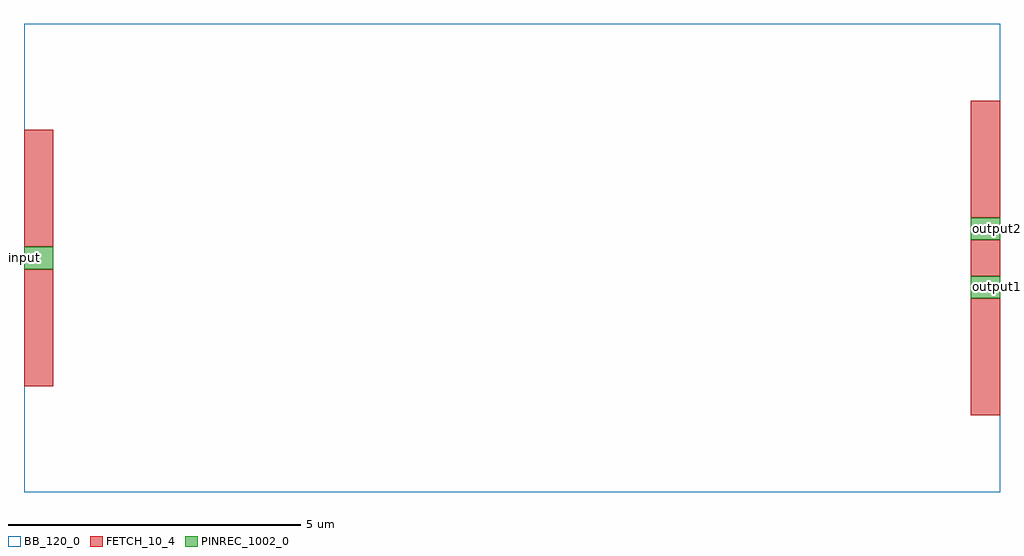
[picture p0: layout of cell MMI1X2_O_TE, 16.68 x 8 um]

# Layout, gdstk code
import gdstk
lib = gdstk.Library(unit=1e-6, precision=1e-09)
def R(c, l, rs):  # rectangles x0, y0, x1, y1
    for r in rs: c.add(gdstk.rectangle(r[:2], r[2:], *l))
FETCH_10_4 = (10, 4)
BB_120_0 = (120, 0)
PINREC_1002_0 = (1002, 0)

mmi1x2_o_te = lib.new_cell('MMI1X2_O_TE')
R(mmi1x2_o_te, FETCH_10_4, [(16.178,1.31,16.678,3.31), (0,1.81,0.5,3.81), (16.178,3.69,16.678,4.31), (0,4.19,0.5,6.19), (16.178,4.69,16.678,6.69)])
R(mmi1x2_o_te, BB_120_0, [(0,0,16.678,8)])
R(mmi1x2_o_te, PINREC_1002_0, [(16.178,3.31,16.678,3.69), (0,3.81,0.5,4.19), (16.178,4.31,16.678,4.69)])
mmi1x2_o_te.add(gdstk.Label('output2', (16.678,4.505), layer=1000, texttype=0))
mmi1x2_o_te.add(gdstk.Label('output1', (16.678,3.507), layer=1000, texttype=0))
mmi1x2_o_te.add(gdstk.Label('input', (0,4.007), layer=1000, texttype=0))

lib.write_gds('MMI1X2_O_TE.gds')
